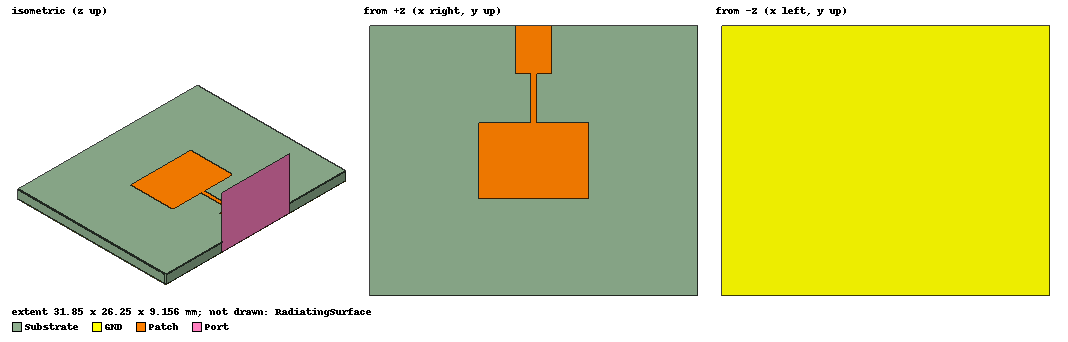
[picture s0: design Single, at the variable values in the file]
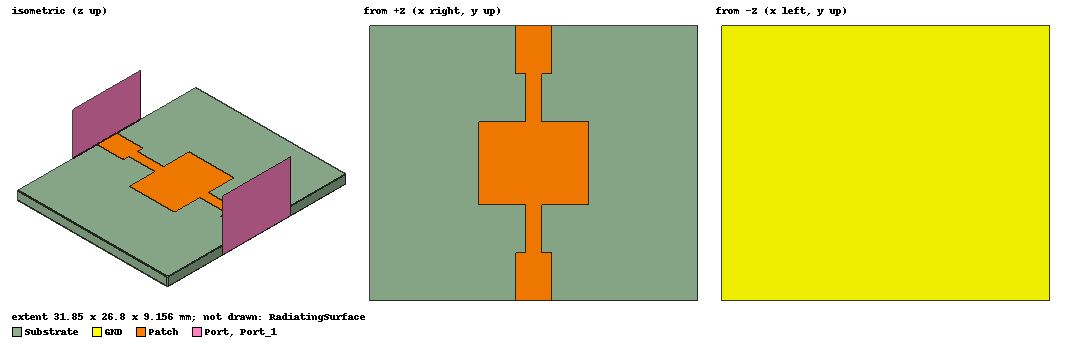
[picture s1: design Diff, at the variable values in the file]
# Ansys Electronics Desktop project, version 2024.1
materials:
  vacuum: permittivity=1
  Rogers RO3003 (tm): permittivity=3 dielectric_loss_tangent=0.0013
  copper: permeability=0.999991 conductivity=58000000
  pec: conductivity=1e+30
  FR4_epoxy: permittivity=4.4 dielectric_loss_tangent=0.02

design Single (HFSS, HFSS Terminal Network, model units mm)
options: Allow_Material_Override Calculate_Lossy_Dielectrics
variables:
  patch_width = 418mil
  patch_length = 293.5mil
  transformer_width = 0.6mm
  quarte_wave = 4.7mm
  feed_width = 3.5mm
  sub_width = 3*patch_width
  sub_thick = 1.52mm
  sub_length = 2*quarte_wave+patch_length+2*feed_length
  copper_thick = 1.4mil
  port_width = 8*sub_thick
  feed_length = 4.7mm
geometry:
  Patch [copper] = rectangle(corner=(-patch_width/2, 0mm, 0mm), x_size=patch_width, y_size=-patch_length)
  Transformer = rectangle(corner=(-transformer_width/2, 0mm, 0mm), x_size=transformer_width, y_size=quarte_wave)
  feed = rectangle(corner=(-feed_width/2, quarte_wave, 0mm), x_size=feed_width, y_size=feed_length)
  Patch.unite(Transformer, feed)
  Substrate [Rogers RO3003 (tm)] = box(corner=(-sub_width/2, quarte_wave+feed_length, -sub_thick), size=(sub_width, -sub_length, sub_thick))
  GND [copper] = object_from(Substrate.face(-z))
  GND.thicken(copper_thick)
  Patch.thicken(-copper_thick)
  Port = rectangle(corner=(-port_width/2, quarte_wave+feed_length, -sub_thick), z_size=6*sub_thick, x_size=port_width)
  RadiatingSurface [vacuum] = region(absolute_offset: +X=10mm, -X=10mm, +Y=0mm, -Y=10mm, +Z=10mm, -Z=10mm)
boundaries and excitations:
  Open1: Radiation Objects=RadiatingSurface
  1: Wave Port Objects=Port WavePortType=Modal NumModes=1 Modes{Mode1{CharImp=Zpi RenormImp=50ohm}}
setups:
  Setup1: HfssDriven Frequency=10GHz MaxDeltaS=0.02 MaximumPasses=20 MinimumPasses=1 MinimumConvergedPasses=1 PercentRefinement=30 BasisOrder=1 PortAccuracy=2 DrivenSolverType="Direct Solver"
    sweep Sweep: 5GHz to 15GHz, 401 points; Type=Interpolating InterpTolerance=0.5 InterpMaxSolns=250 PassivityErrorTolerance=0.0001
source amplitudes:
  1:1: 1V 0deg
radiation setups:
  3D: Infinite Sphere Theta=0deg..180deg step 2deg Phi=-180deg..180deg step 2deg
  Elevation: Infinite Sphere Theta=-180deg..180deg step 1deg Phi=0deg..90deg step 90deg
  Azimuth: Infinite Sphere Theta=90deg..90deg step 0deg Phi=-180deg..180deg step 1deg
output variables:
  XPD = GainY/GainX
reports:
  Terminal S Parameter Plot 1: dB(St(1,1)) vs Freq on Setup1 : Sweep [patch_length=293.5mil transformer_width=0.6mm feed_length=all]; markers m1 at 9.975GHz, m2 at 10GHz
  Gain Plot 1: dB(GainTotal) vs Theta on Setup1 : LastAdaptive, Elevation [Phi=90deg Freq=10GHz feed_length=4.7mm]
  Gain Plot 2: dB(GainTotal) vs Phi, Theta on Setup1 : LastAdaptive, 3D [Freq=10GHz feed_length=4.7mm]
  Output Variables Plot 1: dB10(XPD) vs Theta on Setup1 : LastAdaptive, 3D [Phi=all Freq=10GHz patch_length=all transformer_width=all feed_length=all]
  Gain Plot 3: GainX vs Theta on Setup1 : LastAdaptive, Elevation
  Gain Plot 4: GainY vs Theta on Setup1 : LastAdaptive, Elevation
  Gain Plot 5: dB(GainPhi), dB(GainTheta) vs Theta on Setup1 : LastAdaptive, Elevation [Phi=all Freq=10GHz patch_length=293.5mil transformer_width=0.6mm feed_length=4.7mm]

design Diff (HFSS, HFSS Terminal Network, model units mm)
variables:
  transformer_width = 1.5mm
  quarte_wave = 4.7mm
  patch_width = 418mil
  patch_length = 315mil
  feed_width = 3.5mm
  copper_thick = 1.4mil
  feed_length = 4.7mm
  sub_width = 3*patch_width
  sub_length = 2*quarte_wave+patch_length+2*feed_length
  sub_thick = 1.52mm
  port_width = 8*sub_thick
  Phase_var = 180deg
  Mag_var = 1W
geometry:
  Patch [copper] = rectangle(corner=(-patch_width/2, 0mm, 0mm), x_size=patch_width, y_size=-patch_length)
  Substrate [Rogers RO3003 (tm)] = box(corner=(-sub_width/2, quarte_wave+feed_length, -sub_thick), size=(sub_width, -sub_length, sub_thick))
  GND [copper] = object_from(Substrate.face(-z))
  GND.thicken(copper_thick)
  Port = rectangle(corner=(-port_width/2, quarte_wave+feed_length, -sub_thick), z_size=6*sub_thick, x_size=port_width)
  Transformer = rectangle(corner=(-transformer_width/2, 0mm, 0mm), x_size=transformer_width, y_size=quarte_wave)
  feed = rectangle(corner=(-feed_width/2, quarte_wave, 0mm), x_size=feed_width, y_size=feed_length)
  Transformer_1 = Transformer.duplicate_around_axis(axis=Z, angle=180deg, total=2)
  feed_1 = feed.duplicate_around_axis(axis=Z, angle=180deg, total=2)
  Port_1 = Port.duplicate_along_line(step=(0mm, -2*feed_length-2*quarte_wave-patch_length, 0mm), total=2)
  RadiatingSurface [vacuum] = region(absolute_offset: +X=10mm, -X=10mm, +Y=0mm, -Y=0mm, +Z=10mm, -Z=10mm)
  [Transformer_1, feed_1].move(0mm, -patch_length, 0mm)
  Patch.unite(Transformer, feed, Transformer_1, feed_1)
  Patch.thicken(-1.4mil)
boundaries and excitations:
  Open1: Radiation Objects=RadiatingSurface
  1: Wave Port Objects=Port WavePortType=Modal NumModes=1 Modes{Mode1{CharImp=Zpi RenormImp=50ohm}}
  2: Wave Port Objects=Port_1 WavePortType=Modal NumModes=1 Modes{Mode1{CharImp=Zpi RenormImp=50ohm}}
  reference conductors: GND
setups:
  Setup1: HfssDriven Frequency=10GHz MaxDeltaS=0.02 MaximumPasses=20 MinimumPasses=1 MinimumConvergedPasses=1 PercentRefinement=30 BasisOrder=1 PortAccuracy=2 DrivenSolverType="Direct Solver" InfiniteSphereSetup=3
    sweep Sweep: 5GHz to 15GHz, 401 points; Type=Interpolating InterpTolerance=0.5 InterpMaxSolns=250 PassivityErrorTolerance=0.0001
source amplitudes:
  1:1: 1W 0deg
  2:1: mag_var Phase_var
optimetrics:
  ParametricSetup1: Parametric Sim._Setups=[Setup1]
    sweep Phase_var: LIN 0deg 180deg 20deg
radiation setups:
  3D: Infinite Sphere Theta=0deg..180deg step 2deg Phi=-180deg..180deg step 2deg
  Elevation: Infinite Sphere Theta=-180deg..180deg step 1deg Phi=0deg..90deg step 90deg
  Azimuth: Infinite Sphere Theta=90deg..90deg step 0deg Phi=-180deg..180deg step 1deg
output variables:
  XPD = GainY/GainX
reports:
  Terminal S Parameter Plot 1: dB(St(1,1)) vs Freq on Setup1 : Sweep [transformer_width=1.5mm patch_length=315mil]; markers m1 at 10GHz
  Gain Plot 1: GainY vs Theta on Setup1 : LastAdaptive, Elevation [Phi=0deg Freq=10GHz Phase_var=180deg Mag_var=1W]; markers m1 at 0deg
  Gain Plot 2: dB10(XPD) vs Phase_var on Setup1 : LastAdaptive, Elevation [Phi=0deg Freq=10GHz Theta=0deg Mag_var=1W]; markers m1 at 180deg, m2 at 0deg
  Gain Plot 3: GainX vs Theta on Setup1 : LastAdaptive, Elevation [Phi=0deg Freq=10GHz Phase_var=180deg Mag_var=1W]
  Gain Plot 4: dB(GainTotal) vs Theta on Setup1 : LastAdaptive, Elevation [Phi=90deg Freq=10GHz Phase_var=180deg Mag_var=1W]
  Output Variables Plot 1: dB10(XPD) vs Mag_var on Setup1 : LastAdaptive, 3D [Phi=0deg Freq=10GHz Phase_var=180deg Theta=0deg]; markers m1 at 0W, m2 at 1W
  Gain Plot 5: dB(GainTotal) vs Phi, Theta on Setup1 : LastAdaptive, 3D [Freq=10GHz Phase_var=180deg Mag_var=1W]
  Output Variables Plot 2: dB10(XPD) vs Theta on Setup1 : LastAdaptive, Elevation [Phi=all Freq=10GHz Phase_var=180deg Mag_var=all]
  Gain Plot 6: dB(GainPhi), dB(GainTheta) vs Theta on Setup1 : LastAdaptive, Elevation [Phi=all Freq=10GHz Phase_var=180deg Mag_var=1W]
  Output Variables Plot 3: dB10(XPD) vs Theta on Setup1 : LastAdaptive, Elevation [Phi=0deg Freq=10GHz Phase_var=180deg Mag_var=all]; markers m1 at 9deg
